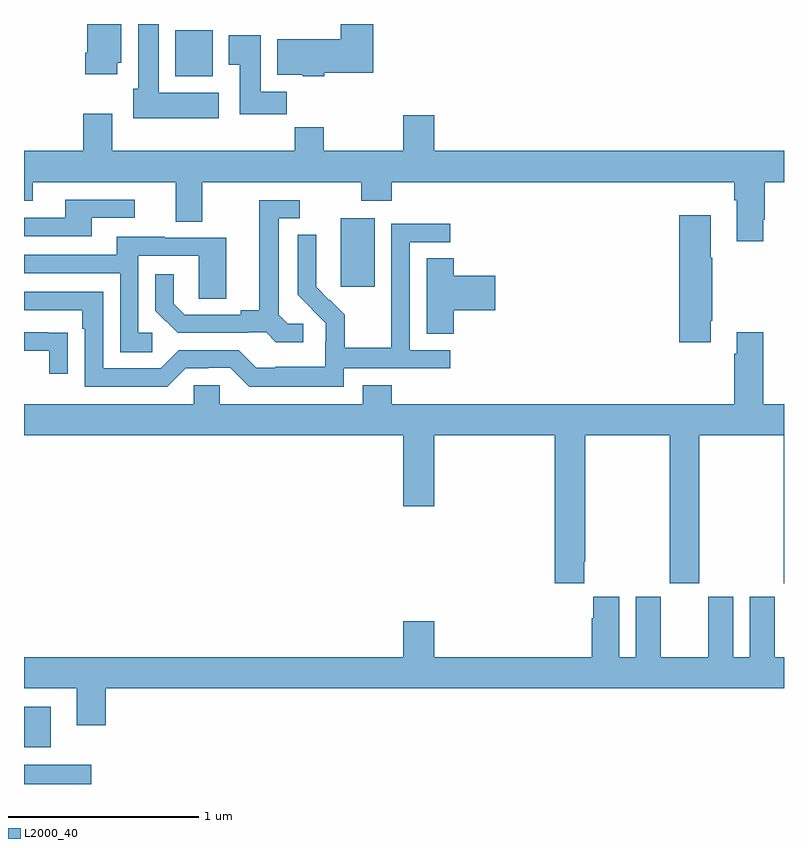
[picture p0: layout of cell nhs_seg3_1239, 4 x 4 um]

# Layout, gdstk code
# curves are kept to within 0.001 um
import gdstk
lib = gdstk.Library(unit=1e-6, precision=1e-09)
def R(c, l, rs):  # rectangles x0, y0, x1, y1
    for r in rs: c.add(gdstk.rectangle(r[:2], r[2:], *l))
def P(c, l, *ps):  # polygons
    for p in ps: c.add(gdstk.Polygon(p, *l))
L2000_40 = (2000, 40)

nhs_seg3_1239 = lib.new_cell('nhs_seg3_1239')
R(nhs_seg3_1239, L2000_40, [(175,712.4,175.354,712.501), (176.666,715.017,176.845,715.378), (175.796,716.126,175.993,716.368)])
P(nhs_seg3_1239, L2000_40, [(175.492,716.196),(175.513,716.196),(175.513,716.4),(175.334,716.4),(175.334,716.248),(175.322,716.248),(175.322,716.136),(175.492,716.136)],
  [(176.58,716.144),(176.837,716.144),(176.837,716.4),(176.666,716.4),(176.666,716.32),(176.333,716.32),(176.333,716.132),(176.466,716.132),(176.466,716.126),(176.58,716.126)],
  [(176.026,716.038),(175.708,716.038),(175.708,716.4),(175.601,716.4),(175.601,716.058),(175.574,716.058),(175.574,715.904),(176.026,715.904)],
  [(176.384,716.044),(176.245,716.044),(176.245,716.341),(176.078,716.341),(176.078,716.185),(176.135,716.185),(176.135,715.926),(176.384,715.926)],
  [(178.891,715.369),(178.899,715.369),(178.899,715.568),(179,715.568),(179,715.732),(177.16,715.732),(177.16,715.921),(176.996,715.921),(176.996,715.732),(176.577,715.732),(176.577,715.856),(176.425,715.856),(176.425,715.732),(175.465,715.732),(175.465,715.927),(175.313,715.927),(175.313,715.732),(175,715.732),(175,715.469),(175.045,715.469),(175.045,715.568),(175.799,715.568),(175.799,715.36),(175.939,715.36),(175.939,715.568),(176.776,715.568),(176.776,715.469),(176.936,715.469),(176.936,715.568),(178.739,715.568),(178.739,715.472),(178.751,715.472),(178.751,715.257),(178.891,715.257)],
  [(175.357,715.38),(175.582,715.38),(175.582,715.476),(175.217,715.476),(175.217,715.38),(175,715.38),(175,715.284),(175.357,715.284)],
  [(176.47,714.822),(176.388,714.822),(176.341,714.869),(176.341,715.377),(176.452,715.377),(176.452,715.473),(176.237,715.473),(176.237,714.893),(176.141,714.893),(176.141,714.87),(175.846,714.87),(175.789,714.927),(175.789,715.084),(175.692,715.084),(175.692,714.89),(175.808,714.774),(176.18,714.774),(176.18,714.777),(176.274,714.777),(176.326,714.725),(176.47,714.725)],
  [(178.615,714.838),(178.623,714.838),(178.623,715.169),(178.615,715.169),(178.615,715.393),(178.448,715.393),(178.448,714.726),(178.615,714.726)],
  [(176.682,714.588),(177.244,714.588),(177.244,714.684),(177.03,714.684),(177.03,715.251),(177.244,715.251),(177.244,715.35),(176.934,715.35),(176.934,714.92),(176.932,714.92),(176.932,714.697),(176.687,714.697),(176.687,714.871),(176.61,714.948),(176.607,714.945),(176.537,715.016),(176.538,715.292),(176.442,715.292),(176.442,714.974),(176.588,714.826),(176.588,714.729),(176.586,714.729),(176.586,714.595),(176.323,714.595),(176.323,714.591),(176.223,714.591),(176.13,714.684),(175.815,714.684),(175.719,714.588),(175.416,714.588),(175.416,714.99),(175,714.99),(175,714.894),(175.307,714.894),(175.307,714.797),(175.32,714.797),(175.32,714.492),(175.755,714.492),(175.851,714.588),(175.97,714.588),(175.97,714.591),(176.085,714.591),(176.185,714.491),(176.682,714.491)],
  [(175.675,714.774),(175.602,714.774),(175.602,715.179),(175.92,715.179),(175.92,714.955),(176.065,714.955),(176.065,715.275),(175.741,715.275),(175.741,715.279),(175.487,715.279),(175.487,715.185),(175,715.185),(175,715.089),(175.506,715.089),(175.506,714.673),(175.675,714.673)],
  [(177.263,714.893),(177.481,714.893),(177.481,715.076),(177.263,715.076),(177.263,715.166),(177.119,715.166),(177.119,714.769),(177.263,714.769)],
  [(177.949,713.569),(177.954,713.569),(177.954,714.236),(178.399,714.236),(178.399,713.457),(178.554,713.457),(178.554,714.236),(178.999,714.236),(178.999,713.457),(179,713.457),(179,714.4),(178.891,714.4),(178.891,714.778),(178.751,714.778),(178.751,714.665),(178.739,714.665),(178.739,714.4),(176.936,714.4),(176.936,714.499),(176.783,714.499),(176.783,714.4),(176.031,714.4),(176.031,714.498),(175.893,714.498),(175.893,714.4),(175,714.4),(175,714.236),(176.996,714.236),(176.996,713.862),(177.16,713.862),(177.16,714.236),(177.794,714.236),(177.794,713.457),(177.949,713.457)],
  [(175.229,714.776),(175.127,714.776),(175.127,714.777),(175,714.777),(175,714.681),(175.133,714.681),(175.133,714.558),(175.229,714.558)],
  [(175.43,712.904),(179,712.904),(179,713.068),(178.951,713.068),(178.951,713.386),(178.82,713.386),(178.82,713.068),(178.732,713.068),(178.732,713.386),(178.601,713.386),(178.601,713.068),(178.351,713.068),(178.351,713.386),(178.22,713.386),(178.22,713.068),(178.132,713.068),(178.132,713.386),(177.995,713.386),(177.995,713.273),(177.989,713.273),(177.989,713.068),(177.16,713.068),(177.16,713.257),(176.996,713.257),(176.996,713.068),(175,713.068),(175,712.904),(175.277,712.904),(175.277,712.71),(175.43,712.71)],
  [(175.141,712.807),(175.001,712.807),(175.001,712.689),(175,712.689),(175,712.593),(175.141,712.593)])

lib.write_gds('nhs_seg3_1239.gds')
